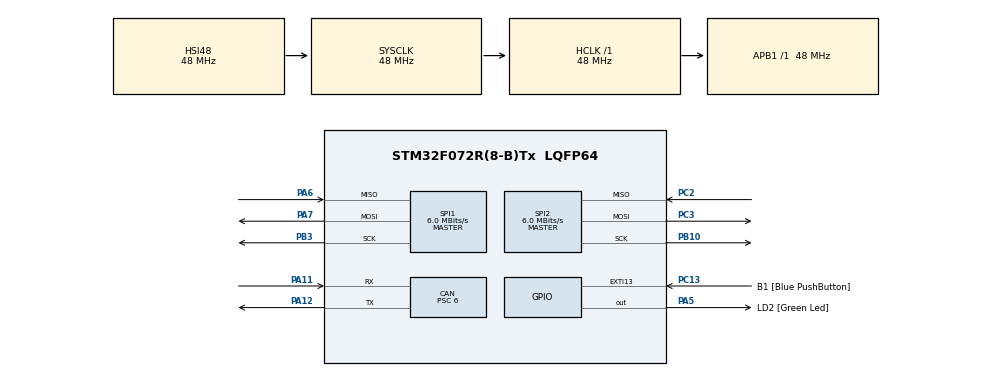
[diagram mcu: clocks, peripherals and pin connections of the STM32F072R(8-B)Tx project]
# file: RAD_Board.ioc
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CAN.BS1=CAN_BS1_13TQ
CAN.BS2=CAN_BS2_2TQ
CAN.CalculateBaudRate=500000
CAN.CalculateTimeBit=2000
CAN.CalculateTimeQuantum=125.0
CAN.Mode=CAN_MODE_LOOPBACK
CAN.Prescaler=6
Mcu.Family=STM32F0
Mcu.Name=STM32F072R(8-B)Tx
Mcu.Package=LQFP64
NVIC.CEC_CAN_IRQn=true\:0\:0\:false\:false\:true\:true\:true\:true
PA11.Mode=CAN_Activate
PA11.Signal=CAN_RX
PA12.Mode=CAN_Activate
PA12.Signal=CAN_TX
PA13.GPIO_Label=TMS
PA13.Mode=Serial_Wire
PA13.Signal=SYS_SWDIO
PA14.GPIO_Label=TCK
PA14.Mode=Serial_Wire
PA14.Signal=SYS_SWCLK
PA2.GPIO_Label=USART_TX
PA2.GPIO_Mode=GPIO_MODE_AF_PP
PA2.GPIO_PuPd=GPIO_NOPULL
PA2.GPIO_Speed=GPIO_SPEED_FREQ_LOW
PA2.Signal=USART2_TX
PA3.GPIO_Label=USART_RX
PA3.GPIO_Mode=GPIO_MODE_AF_PP
PA3.GPIO_PuPd=GPIO_NOPULL
PA3.GPIO_Speed=GPIO_SPEED_FREQ_LOW
PA3.Signal=USART2_RX
PA5.GPIO_Label=LD2 [Green Led]
PA5.GPIO_Mode=GPIO_MODE_OUTPUT_PP
PA5.GPIO_PuPd=GPIO_NOPULL
PA5.GPIO_Speed=GPIO_SPEED_FREQ_LOW
PA5.Signal=GPIO_Output
PA6.Mode=Full_Duplex_Master
PA6.Signal=SPI1_MISO
PA7.Mode=Full_Duplex_Master
PA7.Signal=SPI1_MOSI
PB10.Mode=Full_Duplex_Master
PB10.Signal=SPI2_SCK
PB3.Mode=Full_Duplex_Master
PB3.Signal=SPI1_SCK
PC13.GPIO_Label=B1 [Blue PushButton]
PC13.GPIO_ModeDefaultEXTI=GPIO_MODE_IT_FALLING
PC13.Signal=GPXTI13
PC14-OSC32_IN.Mode=LSE-External-Oscillator
PC14-OSC32_IN.Signal=RCC_OSC32_IN
PC15-OSC32_OUT.Mode=LSE-External-Oscillator
PC15-OSC32_OUT.Signal=RCC_OSC32_OUT
PC2.Mode=Full_Duplex_Master
PC2.Signal=SPI2_MISO
PC3.Mode=Full_Duplex_Master
PC3.Signal=SPI2_MOSI
PF0-OSC_IN.Mode=HSE-External-Clock-Source
PF0-OSC_IN.Signal=RCC_OSC_IN
PF1-OSC_OUT.Signal=RCC_OSC_OUT
ProjectManager.HeapSize=0x200
ProjectManager.StackSize=0x400
ProjectManager.TargetToolchain=STM32CubeIDE
RCC.AHBFreq_Value=48000000
RCC.APB1Freq_Value=48000000
RCC.APB1TimFreq_Value=48000000
RCC.FLatency-AdvancedSettings=FLASH_LATENCY_1
RCC.HCLKFreq_Value=48000000
RCC.PLLDivider=RCC_PREDIV_DIV2
RCC.PLLMUL=RCC_PLL_MUL12
RCC.PREFETCH_ENABLE-AdvancedSettings=1
RCC.SYSCLKFreq_VALUE=48000000
RCC.SYSCLKSource=RCC_SYSCLKSOURCE_HSI48
SPI1.BaudRatePrescaler=SPI_BAUDRATEPRESCALER_8
SPI1.CalculateBaudRate=6.0 MBits/s
SPI1.Direction=SPI_DIRECTION_2LINES
SPI1.Mode=SPI_MODE_MASTER
SPI1.VirtualType=VM_MASTER
SPI2.BaudRatePrescaler=SPI_BAUDRATEPRESCALER_8
SPI2.CalculateBaudRate=6.0 MBits/s
SPI2.Direction=SPI_DIRECTION_2LINES
SPI2.Mode=SPI_MODE_MASTER
SPI2.VirtualType=VM_MASTER
board=NUCLEO-F072RB

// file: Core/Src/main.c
/* USER CODE BEGIN Header */
/**
 ******************************************************************************
 * @file           : main.c
 * @brief          : Main program body
 ******************************************************************************
 * @attention
 *
 * Copyright (c) 2023 STMicroelectronics.
 * All rights reserved.
 *
 * This software is licensed under terms that can be found in the LICENSE file
 * in the root directory of this software component.
 * If no LICENSE file comes with this software, it is provided AS-IS.
 *
 ******************************************************************************
 */
/* USER CODE END Header */
#include "main.h"

CAN_HandleTypeDef hcan;

SPI_HandleTypeDef hspi1;
SPI_HandleTypeDef hspi2;

/* USER CODE BEGIN PV */
// Init can headers
CAN_TxHeaderTypeDef TxHeader;
CAN_RxHeaderTypeDef RxHeader;

// Init transmit mailbox
uint32_t TxMailbox;

// Buffers for CAN data
uint8_t TxData[8];
uint8_t RxData[8];
/* USER CODE END PV */

void SystemClock_Config(void);
static void MX_GPIO_Init(void);
static void MX_CAN_Init(void);
static void MX_SPI1_Init(void);
static void MX_SPI2_Init(void);
/* USER CODE BEGIN PFP */
// void HAL_CAN_RxFifo0MsgPendingCallback(CAN_HandleTypeDef *hcan);
/* USER CODE END PFP */

int main(void)
{

  /* MCU Configuration--------------------------------------------------------*/

  /* Reset of all peripherals, Initializes the Flash interface and the Systick. */
  HAL_Init();

  /* Configure the system clock */
  SystemClock_Config();

  /* Initialize all configured peripherals */
  MX_GPIO_Init();
  MX_CAN_Init();
  MX_SPI1_Init();
  MX_SPI2_Init();
  /* USER CODE BEGIN 2 */
  // Start CAN
  HAL_CAN_Start(&hcan);
  // Activate receive interrupt when message is received on queue 0
  HAL_CAN_ActivateNotification(&hcan, CAN_IT_RX_FIFO0_MSG_PENDING);

  // Initialize TxHeader
  TxHeader.DLC = sizeof(TxData);         // Number of bytes to send
  TxHeader.ExtId = 0x8000000;            // Extended ID (set to 0 because we're using standard)
  TxHeader.IDE = CAN_ID_EXT;             // Using standard CAN ID
  TxHeader.RTR = CAN_RTR_DATA;           // We are sending data
  TxHeader.StdId = 0;                    // ID of RAD board. This should be stored in EEPROM
  TxHeader.TransmitGlobalTime = DISABLE; // Keep disabled

  TxData[0] = 0xf0;
  TxData[1] = 0xf1;
  TxData[2] = 0xf2;
  TxData[3] = 0xf3;
  TxData[4] = 0xf4;
  TxData[5] = 0xf5;
  TxData[6] = 0xf6;
  TxData[7] = 0xf7;

  /* USER CODE END 2 */

  /* Infinite loop */
  /* USER CODE BEGIN WHILE */
  while (1)
  {
    if (HAL_CAN_AddTxMessage(&hcan, &TxHeader, TxData, &TxMailbox) != HAL_OK)
    {
      Error_Handler();
    }
    HAL_Delay(20);
    /* USER CODE END WHILE */

  }
}

void SystemClock_Config(void)
{
  RCC_OscInitTypeDef RCC_OscInitStruct = {0};
  RCC_ClkInitTypeDef RCC_ClkInitStruct = {0};

  /** Initializes the RCC Oscillators according to the specified parameters
   * in the RCC_OscInitTypeDef structure.
   */
  RCC_OscInitStruct.OscillatorType = RCC_OSCILLATORTYPE_HSI48;
  RCC_OscInitStruct.HSI48State = RCC_HSI48_ON;
  RCC_OscInitStruct.PLL.PLLState = RCC_PLL_NONE;
  if (HAL_RCC_OscConfig(&RCC_OscInitStruct) != HAL_OK)
  {
    Error_Handler();
  }

  /** Initializes the CPU, AHB and APB buses clocks
   */
  RCC_ClkInitStruct.ClockType = RCC_CLOCKTYPE_HCLK | RCC_CLOCKTYPE_SYSCLK | RCC_CLOCKTYPE_PCLK1;
  RCC_ClkInitStruct.SYSCLKSource = RCC_SYSCLKSOURCE_HSI48;
  RCC_ClkInitStruct.AHBCLKDivider = RCC_SYSCLK_DIV1;
  RCC_ClkInitStruct.APB1CLKDivider = RCC_HCLK_DIV1;

  if (HAL_RCC_ClockConfig(&RCC_ClkInitStruct, FLASH_LATENCY_1) != HAL_OK)
  {
    Error_Handler();
  }
}

static void MX_CAN_Init(void)
{

  /* USER CODE BEGIN CAN_Init 1 */
  // Use this to calculate CAN parameters http://www.bittiming.can-wiki.info/
  /* USER CODE END CAN_Init 1 */
  hcan.Instance = CAN;
  hcan.Init.Prescaler = 6;
  hcan.Init.Mode = CAN_MODE_LOOPBACK;
  hcan.Init.SyncJumpWidth = CAN_SJW_1TQ;
  hcan.Init.TimeSeg1 = CAN_BS1_13TQ;
  hcan.Init.TimeSeg2 = CAN_BS2_2TQ;
  hcan.Init.TimeTriggeredMode = DISABLE;
  hcan.Init.AutoBusOff = DISABLE;
  hcan.Init.AutoWakeUp = DISABLE;
  hcan.Init.AutoRetransmission = DISABLE;
  hcan.Init.ReceiveFifoLocked = DISABLE;
  hcan.Init.TransmitFifoPriority = DISABLE;
  if (HAL_CAN_Init(&hcan) != HAL_OK)
  {
    Error_Handler();
  }
  /* USER CODE BEGIN CAN_Init 2 */

  CAN_FilterTypeDef canfilterconfig;

  canfilterconfig.FilterActivation = CAN_FILTER_ENABLE;
  canfilterconfig.FilterBank = 10;
  canfilterconfig.FilterFIFOAssignment = CAN_RX_FIFO0;
  canfilterconfig.FilterIdHigh = 0x000 << 5;
  canfilterconfig.FilterIdLow = 0x0000;
  canfilterconfig.FilterMaskIdHigh = 0x1 << 13;
  canfilterconfig.FilterMaskIdLow = 0x0000;
  canfilterconfig.FilterMode = CAN_FILTERMODE_IDMASK;
  canfilterconfig.FilterScale = CAN_FILTERSCALE_32BIT;
  canfilterconfig.SlaveStartFilterBank = 0;

  HAL_CAN_ConfigFilter(&hcan, &canfilterconfig);
  /* USER CODE END CAN_Init 2 */
}

static void MX_SPI1_Init(void)
{

  /* SPI1 parameter configuration*/
  hspi1.Instance = SPI1;
  hspi1.Init.Mode = SPI_MODE_MASTER;
  hspi1.Init.Direction = SPI_DIRECTION_2LINES;
  hspi1.Init.DataSize = SPI_DATASIZE_4BIT;
  hspi1.Init.CLKPolarity = SPI_POLARITY_LOW;
  hspi1.Init.CLKPhase = SPI_PHASE_1EDGE;
  hspi1.Init.NSS = SPI_NSS_SOFT;
  hspi1.Init.BaudRatePrescaler = SPI_BAUDRATEPRESCALER_8;
  hspi1.Init.FirstBit = SPI_FIRSTBIT_MSB;
  hspi1.Init.TIMode = SPI_TIMODE_DISABLE;
  hspi1.Init.CRCCalculation = SPI_CRCCALCULATION_DISABLE;
  hspi1.Init.CRCPolynomial = 7;
  hspi1.Init.CRCLength = SPI_CRC_LENGTH_DATASIZE;
  hspi1.Init.NSSPMode = SPI_NSS_PULSE_ENABLE;
  if (HAL_SPI_Init(&hspi1) != HAL_OK)
  {
    Error_Handler();
  }
}

static void MX_SPI2_Init(void)
{

  /* SPI2 parameter configuration*/
  hspi2.Instance = SPI2;
  hspi2.Init.Mode = SPI_MODE_MASTER;
  hspi2.Init.Direction = SPI_DIRECTION_2LINES;
  hspi2.Init.DataSize = SPI_DATASIZE_4BIT;
  hspi2.Init.CLKPolarity = SPI_POLARITY_LOW;
  hspi2.Init.CLKPhase = SPI_PHASE_1EDGE;
  hspi2.Init.NSS = SPI_NSS_SOFT;
  hspi2.Init.BaudRatePrescaler = SPI_BAUDRATEPRESCALER_8;
  hspi2.Init.FirstBit = SPI_FIRSTBIT_MSB;
  hspi2.Init.TIMode = SPI_TIMODE_DISABLE;
  hspi2.Init.CRCCalculation = SPI_CRCCALCULATION_DISABLE;
  hspi2.Init.CRCPolynomial = 7;
  hspi2.Init.CRCLength = SPI_CRC_LENGTH_DATASIZE;
  hspi2.Init.NSSPMode = SPI_NSS_PULSE_ENABLE;
  if (HAL_SPI_Init(&hspi2) != HAL_OK)
  {
    Error_Handler();
  }
}

static void MX_GPIO_Init(void)
{
  GPIO_InitTypeDef GPIO_InitStruct = {0};

  /* GPIO Ports Clock Enable */
  __HAL_RCC_GPIOC_CLK_ENABLE();
  __HAL_RCC_GPIOF_CLK_ENABLE();
  __HAL_RCC_GPIOA_CLK_ENABLE();
  __HAL_RCC_GPIOB_CLK_ENABLE();

  /*Configure GPIO pin Output Level */
  HAL_GPIO_WritePin(LD2_GPIO_Port, LD2_Pin, GPIO_PIN_RESET);

  /*Configure GPIO pin : B1_Pin */
  GPIO_InitStruct.Pin = B1_Pin;
  GPIO_InitStruct.Mode = GPIO_MODE_IT_FALLING;
  GPIO_InitStruct.Pull = GPIO_NOPULL;
  HAL_GPIO_Init(B1_GPIO_Port, &GPIO_InitStruct);

  /*Configure GPIO pins : USART_TX_Pin USART_RX_Pin */
  GPIO_InitStruct.Pin = USART_TX_Pin | USART_RX_Pin;
  GPIO_InitStruct.Mode = GPIO_MODE_AF_PP;
  GPIO_InitStruct.Pull = GPIO_NOPULL;
  GPIO_InitStruct.Speed = GPIO_SPEED_FREQ_LOW;
  GPIO_InitStruct.Alternate = GPIO_AF1_USART2;
  HAL_GPIO_Init(GPIOA, &GPIO_InitStruct);

  /*Configure GPIO pin : LD2_Pin */
  GPIO_InitStruct.Pin = LD2_Pin;
  GPIO_InitStruct.Mode = GPIO_MODE_OUTPUT_PP;
  GPIO_InitStruct.Pull = GPIO_NOPULL;
  GPIO_InitStruct.Speed = GPIO_SPEED_FREQ_LOW;
  HAL_GPIO_Init(LD2_GPIO_Port, &GPIO_InitStruct);

}

/* USER CODE BEGIN 4 */
void HAL_CAN_RxFifo0MsgPendingCallback(CAN_HandleTypeDef *hcan)
{
  HAL_GPIO_TogglePin(GPIOA, GPIO_PIN_5);
  HAL_CAN_GetRxMessage(hcan, CAN_RX_FIFO0, &RxHeader, RxData);
}
/* USER CODE END 4 */

void Error_Handler(void)
{
  __disable_irq();
  while (1)
  {
  }
}
